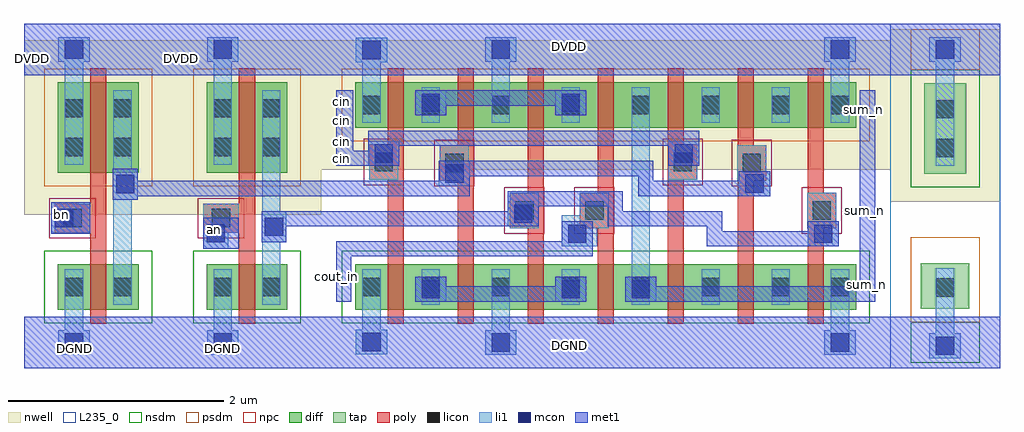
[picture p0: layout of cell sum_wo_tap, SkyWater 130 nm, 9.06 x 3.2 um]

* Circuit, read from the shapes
.subckt sum_wo_tap DGND DVDD an bn cin cout_in sum_n
XM1 n1 bn DGND DGND sky130_fd_pr__nfet_01v8 w=0.42 l=0.15
XM2 n2 an DGND DGND sky130_fd_pr__nfet_01v8 w=0.42 l=0.15
XM3 n3 cin DGND DGND sky130_fd_pr__nfet_01v8 w=0.42 l=0.15
XM4 DGND n1 n3 DGND sky130_fd_pr__nfet_01v8 w=0.42 l=0.15
XM5 n3 n2 DGND DGND sky130_fd_pr__nfet_01v8 w=0.42 l=0.15
XM6 sum_n cout_in n3 DGND sky130_fd_pr__nfet_01v8 w=0.42 l=0.15
XM7 n4 cin sum_n DGND sky130_fd_pr__nfet_01v8 w=0.42 l=0.15
XM8 n5 n1 n4 DGND sky130_fd_pr__nfet_01v8 w=0.42 l=0.15
XM9 DGND n2 n5 DGND sky130_fd_pr__nfet_01v8 w=0.42 l=0.15
XM10 n1 bn DVDD DVDD sky130_fd_pr__pfet_01v8 w=0.84 l=0.15
XM11 n2 an DVDD DVDD sky130_fd_pr__pfet_01v8 w=0.84 l=0.15
XM12 n6 cin DVDD DVDD sky130_fd_pr__pfet_01v8 w=0.42 l=0.15
XM13 DVDD n1 n6 DVDD sky130_fd_pr__pfet_01v8 w=0.42 l=0.15
XM14 n6 n2 DVDD DVDD sky130_fd_pr__pfet_01v8 w=0.42 l=0.15
XM15 sum_n cout_in n6 DVDD sky130_fd_pr__pfet_01v8 w=0.42 l=0.15
XM16 n7 cin sum_n DVDD sky130_fd_pr__pfet_01v8 w=0.42 l=0.15
XM17 n8 n1 n7 DVDD sky130_fd_pr__pfet_01v8 w=0.42 l=0.15
XM18 DVDD n2 n8 DVDD sky130_fd_pr__pfet_01v8 w=0.42 l=0.15
.ends

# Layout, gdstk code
from math import pi, radians
import gdstk
lib = gdstk.Library(unit=1e-6, precision=1e-09)
def R(c, l, rs):  # rectangles x0, y0, x1, y1
    for r in rs: c.add(gdstk.rectangle(r[:2], r[2:], *l))
def A(c, l, x, y, w, h, nx, ny, dx, dy):  # array of equal rectangles
    R(c, l, [(x+i*dx, y+j*dy, x+i*dx+w, y+j*dy+h) for i in range(nx) for j in range(ny)])
nwell = (64, 20)
diff = (65, 20)
tap = (65, 44)
poly = (66, 20)
licon = (66, 44)
li1 = (67, 20)
mcon = (67, 44)
met1 = (68, 20)
nsdm = (93, 44)
psdm = (94, 20)
npc = (95, 20)
L235_0 = (235, 0)

nfet_2 = lib.new_cell('nfet$2')
R(nfet_2, diff, [(0,0,4.65,0.42)])
A(nfet_2, poly, 0.3, -0.13, 0.15, 0.75, 7, 1, 0.65, 0)
A(nfet_2, licon, 0.615, 0.125, 0.17, 0.17, 6, 1, 0.65, 0)
R(nfet_2, licon, [(0.065,0.125,0.235,0.295), (4.415,0.125,4.585,0.295)])
A(nfet_2, li1, 0.615, 0.045, 0.17, 0.33, 6, 1, 0.65, 0)
R(nfet_2, li1, [(0.065,0.045,0.235,0.375), (4.415,0.045,4.585,0.375)])
R(nfet_2, nsdm, [(-0.125,-0.125,4.775,0.545)])

vias_gen = lib.new_cell('vias_gen')
R(vias_gen, li1, [(0,0,0.29,0.23)])
R(vias_gen, mcon, [(0.06,0.03,0.23,0.2)])
R(vias_gen, met1, [(0,0,0.29,0.23)])

tap_ = lib.new_cell('tap')
R(tap_, nwell, [(-1.455,0.92,-0.435,2.525)])
R(tap_, tap, [(-1.17,-0.07,-0.72,0.35), (-1.14,1.18,-0.75,2.02)])
R(tap_, licon, [(-1.03,0.04,-0.86,0.21), (-1.03,1.335,-0.86,1.505), (-1.03,1.695,-0.86,1.865)])
R(tap_, li1, [(-1.03,-0.3,-0.86,-0.025), (-1.03,-0.025,-0.86,0.305), (-1.03,1.255,-0.86,1.945), (-1.03,1.945,-0.86,2.25)])
R(tap_, met1, [(-1.455,-0.625,-0.435,-0.145), (-1.455,2.095,-0.435,2.575)])
R(tap_, nsdm, [(-1.265,-0.575,-0.625,-0.195), (-1.265,1.055,-0.625,2.145)])
R(tap_, psdm, [(-1.265,-0.195,-0.625,0.59), (-1.265,2.145,-0.625,2.525)])
R(tap_, L235_0, [(-1.455,-0.625,-0.435,2.575)])
tap_.add(gdstk.Reference(vias_gen, (-1.09,-0.53)))
tap_.add(gdstk.Reference(vias_gen, (-1.09,2.22)))

vias_gen_1 = lib.new_cell('vias_gen$1')
R(vias_gen_1, li1, [(0,0,0.29,0.23)])
R(vias_gen_1, mcon, [(0.06,0.03,0.23,0.2)])
R(vias_gen_1, met1, [(0,0,0.29,0.23)])

vias_gen_2 = lib.new_cell('vias_gen$2')
R(vias_gen_2, poly, [(0,0,0.33,0.27)])
R(vias_gen_2, licon, [(0.08,0.05,0.25,0.22)])
R(vias_gen_2, li1, [(0,0,0.33,0.27)])
R(vias_gen_2, npc, [(-0.05,-0.05,0.38,0.32)])

vias_gen_3 = lib.new_cell('vias_gen$3')
R(vias_gen_3, li1, [(0,0,0.29,0.23)])
R(vias_gen_3, mcon, [(0.06,0.03,0.23,0.2)])
R(vias_gen_3, met1, [(0,0,0.29,0.23)])

vias_gen_4 = lib.new_cell('vias_gen$4')
R(vias_gen_4, li1, [(0,0,0.29,0.23)])
R(vias_gen_4, mcon, [(0.06,0.03,0.23,0.2)])
R(vias_gen_4, met1, [(0,0,0.29,0.23)])

pfet = lib.new_cell('pfet')
R(pfet, nwell, [(-0.315,-0.39,4.965,0.81)])
R(pfet, diff, [(0,0,4.65,0.42)])
A(pfet, poly, 0.3, -0.2, 0.15, 0.75, 7, 1, 0.65, 0)
A(pfet, licon, 0.615, 0.125, 0.17, 0.17, 6, 1, 0.65, 0)
R(pfet, licon, [(0.065,0.125,0.235,0.295), (4.415,0.125,4.585,0.295)])
A(pfet, li1, 0.615, 0.045, 0.17, 0.33, 6, 1, 0.65, 0)
R(pfet, li1, [(0.065,0.045,0.235,0.375), (4.415,0.045,4.585,0.375)])
R(pfet, psdm, [(-0.125,-0.125,4.775,0.545)])

vias_gen_5 = lib.new_cell('vias_gen$5')
R(vias_gen_5, li1, [(0,0,0.29,0.23)])
R(vias_gen_5, mcon, [(0.06,0.03,0.23,0.2)])
R(vias_gen_5, met1, [(0,0,0.29,0.23)])

pfet_2 = lib.new_cell('pfet$2')
R(pfet_2, nwell, [(-0.315,-0.39,1.065,1.23)])
R(pfet_2, diff, [(0,0,0.75,0.84)])
R(pfet_2, poly, [(0.3,-0.2,0.45,0.97)])
R(pfet_2, licon, [(0.065,0.155,0.235,0.325), (0.515,0.155,0.685,0.325), (0.065,0.515,0.235,0.685), (0.515,0.515,0.685,0.685)])
R(pfet_2, li1, [(0.065,0.075,0.235,0.765), (0.515,0.075,0.685,0.765)])
R(pfet_2, psdm, [(-0.125,-0.125,0.875,0.965)])

nfet_3 = lib.new_cell('nfet$3')
R(nfet_3, diff, [(0,0,0.75,0.42)])
R(nfet_3, poly, [(0.3,-0.13,0.45,0.62)])
R(nfet_3, licon, [(0.065,0.125,0.235,0.295), (0.515,0.125,0.685,0.295)])
R(nfet_3, li1, [(0.065,0.045,0.235,0.375), (0.515,0.045,0.685,0.375)])
R(nfet_3, nsdm, [(-0.125,-0.125,0.875,0.545)])

vias_gen_6 = lib.new_cell('vias_gen$6')
R(vias_gen_6, li1, [(0,0,0.29,0.23)])
R(vias_gen_6, mcon, [(0.06,0.03,0.23,0.2)])
R(vias_gen_6, met1, [(0,0,0.29,0.23)])

pfet_3 = lib.new_cell('pfet$3')
R(pfet_3, nwell, [(-0.315,-0.39,1.065,1.23)])
R(pfet_3, diff, [(0,0,0.75,0.84)])
R(pfet_3, poly, [(0.3,-0.2,0.45,0.97)])
R(pfet_3, licon, [(0.065,0.155,0.235,0.325), (0.515,0.155,0.685,0.325), (0.065,0.515,0.235,0.685), (0.515,0.515,0.685,0.685)])
R(pfet_3, li1, [(0.065,0.075,0.235,0.765), (0.515,0.075,0.685,0.765)])
R(pfet_3, psdm, [(-0.125,-0.125,0.875,0.965)])

nfet_4 = lib.new_cell('nfet$4')
R(nfet_4, diff, [(0,0,0.75,0.42)])
R(nfet_4, poly, [(0.3,-0.13,0.45,0.62)])
R(nfet_4, licon, [(0.065,0.125,0.235,0.295), (0.515,0.125,0.685,0.295)])
R(nfet_4, li1, [(0.065,0.045,0.235,0.375), (0.515,0.045,0.685,0.375)])
R(nfet_4, nsdm, [(-0.125,-0.125,0.875,0.545)])

sum_wo_tap = lib.new_cell('sum_wo_tap')
R(sum_wo_tap, li1, [(-1.645,0.27,-1.605,0.435), (-1.935,0.5,-1.765,0.555)])
R(sum_wo_tap, met1, [(-6.925,-0.865,-5.545,-0.385), (-5.545,-0.865,-4.165,-0.385), (-4.165,-0.865,1.115,-0.385), (-4.025,-0.245,-3.885,0.175), (-5.03,0.245,-4.93,0.535), (-6.44,0.385,-6.31,0.675), (-4.025,1.155,-3.87,1.715), (-6.925,1.855,-5.545,2.335), (-5.545,1.855,-4.165,2.335), (-4.165,1.855,1.115,2.335)])
sum_wo_tap.add(gdstk.FlexPath([(-4.63,1.025),(-4.63,0.055)], 0.17, ends="flush", simple_path=True, layer=67, datatype=20))  # li1
sum_wo_tap.add(gdstk.FlexPath([(-5.08,-0.275),(-5.08,-0.51)], 0.17, ends="flush", simple_path=True, layer=67, datatype=20))  # li1
sum_wo_tap.add(gdstk.FlexPath([(-5.08,1.715),(-5.08,1.98)], 0.17, ends="flush", simple_path=True, layer=67, datatype=20))  # li1
sum_wo_tap.add(gdstk.FlexPath([(-6.01,1.025),(-6.01,0.055)], 0.17, ends="flush", simple_path=True, layer=67, datatype=20))  # li1
sum_wo_tap.add(gdstk.FlexPath([(-6.46,-0.275),(-6.46,-0.51)], 0.17, ends="flush", simple_path=True, layer=67, datatype=20))  # li1
sum_wo_tap.add(gdstk.FlexPath([(-6.46,1.715),(-6.46,1.98)], 0.17, ends="flush", simple_path=True, layer=67, datatype=20))  # li1
sum_wo_tap.add(gdstk.FlexPath([(-2.5,1.745),(-2.5,1.98)], 0.17, ends="flush", simple_path=True, layer=67, datatype=20))  # li1
sum_wo_tap.add(gdstk.FlexPath([(-3.7,1.74),(-3.7,1.975)], 0.17, ends="flush", simple_path=True, layer=67, datatype=20))  # li1
sum_wo_tap.add(gdstk.FlexPath([(0.65,1.745),(0.65,1.98)], 0.17, ends="flush", simple_path=True, layer=67, datatype=20))  # li1
sum_wo_tap.add(gdstk.FlexPath([(-1.2,1.415),(-1.2,0.055)], 0.17, ends="flush", simple_path=True, layer=67, datatype=20))  # li1
sum_wo_tap.add(gdstk.FlexPath([(-2.5,-0.275),(-2.5,-0.51)], 0.17, ends="flush", simple_path=True, layer=67, datatype=20))  # li1
sum_wo_tap.add(gdstk.FlexPath([(-3.7,-0.27),(-3.7,-0.505)], 0.17, ends="flush", simple_path=True, layer=67, datatype=20))  # li1
sum_wo_tap.add(gdstk.FlexPath([(0.65,-0.275),(0.65,-0.51)], 0.17, ends="flush", simple_path=True, layer=67, datatype=20))  # li1
sum_wo_tap.add(gdstk.FlexPath([(-2.785,0.805),(-5.855,0.805),(-5.87,0.805)], 0.14, ends="flush", simple_path=True, layer=68, datatype=20))  # met1
sum_wo_tap.add(gdstk.FlexPath([(-2.435,0.525),(-4.49,0.525)], 0.14, ends="flush", simple_path=True, layer=68, datatype=20))  # met1
sum_wo_tap.add(gdstk.FlexPath([(-1.055,-0.175),(0.905,-0.175),(0.905,1.715)], 0.14, ends="flush", simple_path=True, layer=68, datatype=20))  # met1
sum_wo_tap.add(gdstk.FlexPath([(-3.73,1.085),(-4.025,1.085)], 0.14, ends="flush", simple_path=True, layer=68, datatype=20))  # met1
sum_wo_tap.add(gdstk.FlexPath([(-1.645,0.245),(-4.025,0.245)], 0.14, ends="flush", simple_path=True, layer=68, datatype=20))  # met1
sum_wo_tap.add(gdstk.FlexPath([(-3.005,-0.175),(-1.995,-0.175)], 0.14, ends="flush", simple_path=True, layer=68, datatype=20))  # met1
sum_wo_tap.add(gdstk.FlexPath([(-3.005,1.645),(-1.995,1.645)], 0.14, ends="flush", simple_path=True, layer=68, datatype=20))  # met1
sum_wo_tap.add(gdstk.FlexPath([(-3.73,1.27),(-0.655,1.27)], 0.14, ends="flush", simple_path=True, layer=68, datatype=20))  # met1
sum_wo_tap.add(gdstk.FlexPath([(-1.085,0.805),(-0.29,0.805)], 0.14, ends="flush", simple_path=True, layer=68, datatype=20))  # met1
sum_wo_tap.add(gdstk.FlexPath([(-1.155,0.735),(-1.155,1.06)], 0.14, ends="flush", simple_path=True, layer=68, datatype=20))  # met1
sum_wo_tap.add(gdstk.FlexPath([(-1.225,0.99),(-2.785,0.99)], 0.14, ends="flush", simple_path=True, layer=68, datatype=20))  # met1
sum_wo_tap.add(gdstk.FlexPath([(-0.445,0.34),(0.35,0.34)], 0.14, ends="flush", simple_path=True, layer=68, datatype=20))  # met1
sum_wo_tap.add(gdstk.FlexPath([(-0.515,0.27),(-0.515,0.595)], 0.14, ends="flush", simple_path=True, layer=68, datatype=20))  # met1
sum_wo_tap.add(gdstk.FlexPath([(-0.585,0.525),(-1.365,0.525)], 0.14, ends="flush", simple_path=True, layer=68, datatype=20))  # met1
sum_wo_tap.add(gdstk.FlexPath([(-1.435,0.455),(-1.435,0.71),(-2.435,0.71)], 0.14, ends="flush", simple_path=True, layer=68, datatype=20))  # met1
sum_wo_tap.add(gdstk.FlexPath([(-4.855,0.3),(-4.855,0.75)], 0.15, ends="flush", simple_path=True, layer=66, datatype=20))  # poly
sum_wo_tap.add(gdstk.FlexPath([(-6.235,0.3),(-6.235,0.75)], 0.15, ends="flush", simple_path=True, layer=66, datatype=20))  # poly
sum_wo_tap.add(gdstk.FlexPath([(0.425,0.3),(0.425,1.17)], 0.15, ends="flush", simple_path=True, layer=66, datatype=20))  # poly
sum_wo_tap.add(gdstk.FlexPath([(-0.225,0.3),(-0.225,1.17)], 0.15, ends="flush", simple_path=True, layer=66, datatype=20))  # poly
sum_wo_tap.add(gdstk.FlexPath([(-0.875,0.3),(-0.875,1.17)], 0.15, ends="flush", simple_path=True, layer=66, datatype=20))  # poly
sum_wo_tap.add(gdstk.FlexPath([(-1.525,0.3),(-1.525,1.17)], 0.15, ends="flush", simple_path=True, layer=66, datatype=20))  # poly
sum_wo_tap.add(gdstk.FlexPath([(-2.175,0.3),(-2.175,1.17)], 0.15, ends="flush", simple_path=True, layer=66, datatype=20))  # poly
sum_wo_tap.add(gdstk.FlexPath([(-2.825,0.3),(-2.825,1.17)], 0.15, ends="flush", simple_path=True, layer=66, datatype=20))  # poly
sum_wo_tap.add(gdstk.FlexPath([(-3.475,0.3),(-3.475,1.17)], 0.15, ends="flush", simple_path=True, layer=66, datatype=20))  # poly
sum_wo_tap.add(gdstk.Reference(nfet_2, (-3.85,-0.32)))
sum_wo_tap.add(gdstk.Reference(tap_, (2.57,-0.24)))
sum_wo_tap.add(gdstk.Reference(vias_gen_1, (-2.645,-0.74)))
sum_wo_tap.add(gdstk.Reference(vias_gen_1, (-3.845,-0.735)))
sum_wo_tap.add(gdstk.Reference(vias_gen_2, (-3.45,0.885), rotation=pi/2))
sum_wo_tap.add(gdstk.Reference(vias_gen_2, (-2.795,0.875), rotation=pi/2))
sum_wo_tap.add(gdstk.Reference(vias_gen_2, (-2.145,0.435), rotation=pi/2))
sum_wo_tap.add(gdstk.Reference(vias_gen_3, (0.505,-0.74)))
sum_wo_tap.add(gdstk.Reference(vias_gen_2, (-0.675,0.885), rotation=pi/2))
sum_wo_tap.add(gdstk.Reference(vias_gen_2, (-1.495,0.435), rotation=pi/2))
sum_wo_tap.add(gdstk.Reference(vias_gen_4, (-3.73,1.015)))
sum_wo_tap.add(gdstk.Reference(vias_gen_2, (0.615,0.435), rotation=pi/2))
sum_wo_tap.add(gdstk.Reference(vias_gen_4, (-2.645,2.21), x_reflection=True))
sum_wo_tap.add(gdstk.Reference(vias_gen_4, (-0.945,1.015)))
sum_wo_tap.add(gdstk.Reference(vias_gen_2, (-0.035,0.875), rotation=pi/2))
sum_wo_tap.add(gdstk.Reference(vias_gen_3, (-3.295,-0.245)))
sum_wo_tap.add(gdstk.Reference(vias_gen_4, (-3.075,0.83)))
sum_wo_tap.add(gdstk.Reference(vias_gen_4, (-0.29,0.735)))
sum_wo_tap.add(gdstk.Reference(pfet, (-3.85,1.37)))
sum_wo_tap.add(gdstk.Reference(vias_gen_4, (-3.845,2.205), x_reflection=True))
sum_wo_tap.add(gdstk.Reference(vias_gen_4, (0.505,2.21), x_reflection=True))
sum_wo_tap.add(gdstk.Reference(vias_gen_4, (-1.995,-0.245)))
sum_wo_tap.add(gdstk.Reference(vias_gen_4, (-3.295,1.715), x_reflection=True))
sum_wo_tap.add(gdstk.Reference(vias_gen_4, (-1.995,1.715), x_reflection=True))
sum_wo_tap.add(gdstk.Reference(vias_gen_4, (-2.435,0.455)))
sum_wo_tap.add(gdstk.Reference(vias_gen_4, (0.35,0.27)))
sum_wo_tap.add(gdstk.Reference(vias_gen_4, (-1.935,0.27)))
sum_wo_tap.add(gdstk.Reference(vias_gen_5, (-1.345,-0.245)))
sum_wo_tap.add(gdstk.Reference(pfet_2, (-5.23,0.95)))
sum_wo_tap.add(gdstk.Reference(nfet_3, (-5.23,-0.32)))
sum_wo_tap.add(gdstk.Reference(vias_gen_2, (-5.26,0.395)))
sum_wo_tap.add(gdstk.Reference(vias_gen_6, (-5.225,-0.74)))
sum_wo_tap.add(gdstk.Reference(vias_gen_6, (-5.225,1.98)))
sum_wo_tap.add(gdstk.Reference(pfet_3, (-6.61,0.95)))
sum_wo_tap.add(gdstk.Reference(nfet_4, (-6.61,-0.32)))
sum_wo_tap.add(gdstk.Reference(vias_gen_2, (-6.64,0.395)))
sum_wo_tap.add(gdstk.Reference(vias_gen_6, (-6.605,-0.74)))
sum_wo_tap.add(gdstk.Reference(vias_gen_6, (-6.605,1.98)))
sum_wo_tap.add(gdstk.Reference(vias_gen_6, (-5.03,0.245), rotation=pi/2))
sum_wo_tap.add(gdstk.Reference(vias_gen_6, (-4.49,0.305), rotation=pi/2))
sum_wo_tap.add(gdstk.Reference(vias_gen_6, (-6.44,0.385), rotation=pi/2))
sum_wo_tap.add(gdstk.Reference(vias_gen_6, (-5.87,0.7), rotation=pi/2))
sum_wo_tap.add(gdstk.Label('DVDD', (-5.465,2.015), layer=68, texttype=5))
sum_wo_tap.add(gdstk.Label('DGND', (-5.08,-0.685), layer=68, texttype=5))
sum_wo_tap.add(gdstk.Label('DVDD', (-6.845,2.015), layer=68, texttype=5))
sum_wo_tap.add(gdstk.Label('DGND', (-6.46,-0.685), layer=68, texttype=5))
sum_wo_tap.add(gdstk.Label('an', (-5.16,0.425), layer=68, texttype=5))
sum_wo_tap.add(gdstk.Label('bn', (-6.575,0.56), layer=68, texttype=5))
sum_wo_tap.add(gdstk.Label('sum_n', (0.87,1.535), layer=68, texttype=5))
sum_wo_tap.add(gdstk.Label('sum_n', (0.88,0.6), layer=68, texttype=5))
sum_wo_tap.add(gdstk.Label('sum_n', (0.9,-0.085), layer=68, texttype=5))
sum_wo_tap.add(gdstk.Label('cin', (-3.975,1.615), layer=68, texttype=5))
sum_wo_tap.add(gdstk.Label('cin', (-3.975,1.435), layer=68, texttype=5))
sum_wo_tap.add(gdstk.Label('cin', (-3.975,1.245), layer=68, texttype=5))
sum_wo_tap.add(gdstk.Label('cin', (-3.98,1.085), layer=68, texttype=5))
sum_wo_tap.add(gdstk.Label('cout_in', (-4.025,-0.01), layer=68, texttype=5))
sum_wo_tap.add(gdstk.Label('DVDD', (-1.865,2.125), layer=68, texttype=5))
sum_wo_tap.add(gdstk.Label('DGND', (-1.865,-0.655), layer=68, texttype=5))

lib.write_gds('sum_wo_tap.gds')
